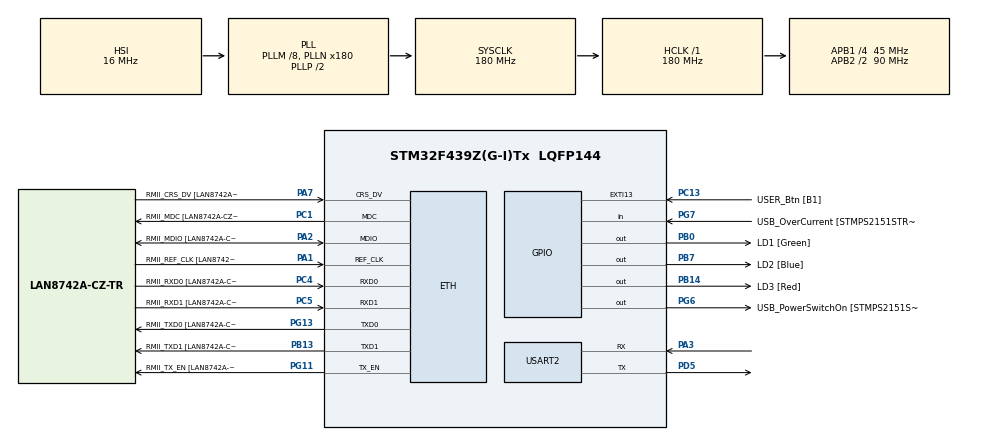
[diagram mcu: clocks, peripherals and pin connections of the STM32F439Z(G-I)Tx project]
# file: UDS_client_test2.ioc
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ETH.MACAddr=00\:80\:E1\:00\:00\:10
ETH.MediaInterface=ETH_MEDIA_INTERFACE_RMII
ETH.PhyAddress=0
ETH.RxMode=ETH_RXINTERRUPT_MODE
FREERTOS.Tasks01=UdsTask,24,128,StartUdsTask,Default,NULL,Dynamic,NULL,NULL;UartTask,25,128,StartUartTask,Default,NULL,Dynamic,NULL,NULL;InstallTask,25,128,StartInstallTask,Default,NULL,Dynamic,NULL,NULL
FREERTOS.configUSE_NEWLIB_REENTRANT=1
HASH.KeySize=17
HASH.SecureHashAlgorithmType=HMAC SHA256
HASH.pKey=00 01 02 03 04 05 06 07 08 09 0A 0B 0C 0D 0E 0F 10
HASH.pKeyInput=000102030405060708090A0B0C0D0E0F10
LWIP.GATEWAY_ADDRESS=169.254.084.058
LWIP.IP_ADDRESS=169.254.084.058
LWIP.LWIP_DHCP=0
LWIP.MEMP_NUM_TCP_SEG=100
LWIP.MEM_SIZE=21*1024
LWIP.NETMASK_ADDRESS=255.255.000.000
LWIP.PBUF_POOL_BUFSIZE=1500
LWIP.PBUF_POOL_SIZE=20
LWIP.TCP_MSS=1426
LWIP.TCP_SND_BUF=11408
LWIP.TCP_SND_QUEUELEN=100
LWIP.TCP_WND=11408
LWIP.Version=v2.1.2_Cube
Mcu.Family=STM32F4
Mcu.Name=STM32F439Z(G-I)Tx
Mcu.Package=LQFP144
NVIC.ETH_IRQn=true\:5\:0\:false\:false\:true\:true\:false\:true
NVIC.PriorityGroup=NVIC_PRIORITYGROUP_4
NVIC.TIM1_UP_TIM10_IRQn=true\:15\:0\:false\:false\:true\:false\:false\:true
NVIC.TimeBase=TIM1_UP_TIM10_IRQn
NVIC.TimeBaseIP=TIM1
NVIC.USART2_IRQn=true\:5\:0\:false\:false\:true\:true\:true\:true
PA1.GPIO_Label=RMII_REF_CLK [LAN8742A-CZ-TR_REFCLK0]
PA1.Mode=RMII
PA1.Signal=ETH_REF_CLK
PA10.GPIO_Label=USB_ID
PA10.Signal=USB_OTG_FS_ID
PA11.GPIO_Label=USB_DM
PA11.Signal=USB_OTG_FS_DM
PA12.GPIO_Label=USB_DP
PA12.Signal=USB_OTG_FS_DP
PA13.GPIO_Label=TMS
PA13.Signal=SYS_JTMS-SWDIO
PA14.GPIO_Label=TCK
PA14.Signal=SYS_JTCK-SWCLK
PA2.GPIO_Label=RMII_MDIO [LAN8742A-CZ-TR_MDIO]
PA2.Mode=RMII
PA2.Signal=ETH_MDIO
PA3.Mode=Asynchronous
PA3.Signal=USART2_RX
PA7.GPIO_Label=RMII_CRS_DV [LAN8742A-CZ-TR_CRS_DV]
PA7.Mode=RMII
PA7.Signal=ETH_CRS_DV
PA8.GPIO_Label=USB_SOF [TP1]
PA8.Signal=USB_OTG_FS_SOF
PA9.GPIO_Label=USB_VBUS
PA9.Signal=USB_OTG_FS_VBUS
PB0.GPIO_Label=LD1 [Green]
PB0.Signal=GPIO_Output
PB13.GPIO_Label=RMII_TXD1 [LAN8742A-CZ-TR_TXD1]
PB13.Mode=RMII
PB13.Signal=ETH_TXD1
PB14.GPIO_Label=LD3 [Red]
PB14.Signal=GPIO_Output
PB7.GPIO_Label=LD2 [Blue]
PB7.Signal=GPIO_Output
PC1.GPIO_Label=RMII_MDC [LAN8742A-CZ-TR_MDC]
PC1.Mode=RMII
PC1.Signal=ETH_MDC
PC13.GPIO_Label=USER_Btn [B1]
PC13.Signal=GPXTI13
PC14/OSC32_IN.Signal=RCC_OSC32_IN
PC15/OSC32_OUT.Signal=RCC_OSC32_OUT
PC4.GPIO_Label=RMII_RXD0 [LAN8742A-CZ-TR_RXD0]
PC4.Mode=RMII
PC4.Signal=ETH_RXD0
PC5.GPIO_Label=RMII_RXD1 [LAN8742A-CZ-TR_RXD1]
PC5.Mode=RMII
PC5.Signal=ETH_RXD1
PD5.Mode=Asynchronous
PD5.Signal=USART2_TX
PD8.GPIO_Label=STLK_RX [STM32F103CBT6_PA3]
PD8.Signal=USART3_TX
PD9.GPIO_Label=STLK_TX [STM32F103CBT6_PA2]
PD9.Signal=USART3_RX
PG11.GPIO_Label=RMII_TX_EN [LAN8742A-CZ-TR_TXEN]
PG11.Mode=RMII
PG11.Signal=ETH_TX_EN
PG13.GPIO_Label=RMII_TXD0 [LAN8742A-CZ-TR_TXD0]
PG13.Mode=RMII
PG13.Signal=ETH_TXD0
PG6.GPIO_Label=USB_PowerSwitchOn [STMPS2151STR_EN]
PG6.Signal=GPIO_Output
PG7.GPIO_Label=USB_OverCurrent [STMPS2151STR_FAULT]
PG7.Signal=GPIO_Input
PH0/OSC_IN.GPIO_Label=MCO [STM32F103CBT6_PA8]
PH0/OSC_IN.Mode=HSE-External-Oscillator
PH0/OSC_IN.Signal=RCC_OSC_IN
PH1/OSC_OUT.Mode=HSE-External-Oscillator
PH1/OSC_OUT.Signal=RCC_OSC_OUT
ProjectManager.HeapSize=0x200
ProjectManager.StackSize=0x400
ProjectManager.TargetToolchain=STM32CubeIDE
RCC.48MHZClocksFreq_Value=90000000
RCC.AHBFreq_Value=180000000
RCC.APB1CLKDivider=RCC_HCLK_DIV4
RCC.APB1Freq_Value=45000000
RCC.APB1TimFreq_Value=90000000
RCC.APB2CLKDivider=RCC_HCLK_DIV2
RCC.APB2Freq_Value=90000000
RCC.APB2TimFreq_Value=180000000
RCC.CortexFreq_Value=180000000
RCC.HCLKFreq_Value=180000000
RCC.HSE_VALUE=8000000
RCC.HSI_VALUE=16000000
RCC.LSE_VALUE=32768
RCC.PLLM=8
RCC.PLLMUL=RCC_PLL_MUL9
RCC.PLLN=180
RCC.PRESCALERUSB=RCC_USBCLKSOURCE_PLL_DIV1_5
RCC.SYSCLKFreq_VALUE=180000000
RCC.SYSCLKSource=RCC_SYSCLKSOURCE_PLLCLK
RCC.SYSCLKSourceVirtual=RCC_SYSCLKSOURCE_PLLCLK
RCC.USBFreq_Value=48000000
RCC.VCOOutputFreq_Value=360000000
USART2.VirtualMode=VM_ASYNC
VP_FREERTOS_VS_CMSIS_V2.Mode=CMSIS_V2
VP_HASH_VS_HASH.Mode=HASH_Activate
VP_LWIP_VS_Enabled.Mode=Enabled
VP_SYS_VS_tim1.Mode=TIM1
board=NUCLEO-F439ZI

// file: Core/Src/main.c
/* USER CODE BEGIN Header */
/**
  ******************************************************************************
  * @file           : main.c
  * @brief          : Main program body
  ******************************************************************************
  * @attention
  *
  * <h2><center>&copy; Copyright (c) 2023 STMicroelectronics.
  * All rights reserved.</center></h2>
  *
  * This software component is licensed by ST under BSD 3-Clause license,
  * the "License"; You may not use this file except in compliance with the
  * License. You may obtain a copy of the License at:
  *                        opensource.org/licenses/BSD-3-Clause
  *
  ******************************************************************************
  */
/* USER CODE END Header */
#include "main.h"
#include "cmsis_os.h"
#include "hash.h"
#include "lwip.h"
#include "usart.h"
#include "gpio.h"

void SystemClock_Config(void);
void MX_FREERTOS_Init(void);

/* USER CODE BEGIN 0 */
/*void HAL_UART_RxCpltCallback(UART_HandleTypeDef *huart){
	sys_sem_signal(&uartSem);
}*/
/* USER CODE END 0 */

int main(void)
{
  /* USER CODE BEGIN 1 */
	__enable_irq();
  /* USER CODE END 1 */

  /* MCU Configuration--------------------------------------------------------*/

  /* Reset of all peripherals, Initializes the Flash interface and the Systick. */
  HAL_Init();

  /* Configure the system clock */
  SystemClock_Config();

  /* Initialize all configured peripherals */
  MX_GPIO_Init();
  MX_HASH_Init();
  MX_USART2_UART_Init();
  /* USER CODE BEGIN 2 */
  /* init code for LWIP */
  MX_LWIP_Init();
  /* USER CODE END 2 */

  /* Init scheduler */
  osKernelInitialize();  /* Call init function for freertos objects (in freertos.c) */
  MX_FREERTOS_Init();
  /* Start scheduler */
  osKernelStart();

  /* We should never get here as control is now taken by the scheduler */
  /* Infinite loop */
  while (1)
  {

  }
}

void SystemClock_Config(void)
{
  RCC_OscInitTypeDef RCC_OscInitStruct = {0};
  RCC_ClkInitTypeDef RCC_ClkInitStruct = {0};

  /** Configure the main internal regulator output voltage
  */
  __HAL_RCC_PWR_CLK_ENABLE();
  __HAL_PWR_VOLTAGESCALING_CONFIG(PWR_REGULATOR_VOLTAGE_SCALE1);
  /** Initializes the RCC Oscillators according to the specified parameters
  * in the RCC_OscInitTypeDef structure.
  */
  RCC_OscInitStruct.OscillatorType = RCC_OSCILLATORTYPE_HSI;
  RCC_OscInitStruct.HSIState = RCC_HSI_ON;
  RCC_OscInitStruct.HSICalibrationValue = RCC_HSICALIBRATION_DEFAULT;
  RCC_OscInitStruct.PLL.PLLState = RCC_PLL_ON;
  RCC_OscInitStruct.PLL.PLLSource = RCC_PLLSOURCE_HSI;
  RCC_OscInitStruct.PLL.PLLM = 8;
  RCC_OscInitStruct.PLL.PLLN = 180;
  RCC_OscInitStruct.PLL.PLLP = RCC_PLLP_DIV2;
  RCC_OscInitStruct.PLL.PLLQ = 4;
  if (HAL_RCC_OscConfig(&RCC_OscInitStruct) != HAL_OK)
  {
    Error_Handler();
  }
  /** Activate the Over-Drive mode
  */
  if (HAL_PWREx_EnableOverDrive() != HAL_OK)
  {
    Error_Handler();
  }
  /** Initializes the CPU, AHB and APB buses clocks
  */
  RCC_ClkInitStruct.ClockType = RCC_CLOCKTYPE_HCLK|RCC_CLOCKTYPE_SYSCLK
                              |RCC_CLOCKTYPE_PCLK1|RCC_CLOCKTYPE_PCLK2;
  RCC_ClkInitStruct.SYSCLKSource = RCC_SYSCLKSOURCE_PLLCLK;
  RCC_ClkInitStruct.AHBCLKDivider = RCC_SYSCLK_DIV1;
  RCC_ClkInitStruct.APB1CLKDivider = RCC_HCLK_DIV4;
  RCC_ClkInitStruct.APB2CLKDivider = RCC_HCLK_DIV2;

  if (HAL_RCC_ClockConfig(&RCC_ClkInitStruct, FLASH_LATENCY_5) != HAL_OK)
  {
    Error_Handler();
  }
}

void HAL_TIM_PeriodElapsedCallback(TIM_HandleTypeDef *htim)
{
  if (htim->Instance == TIM1) {
    HAL_IncTick();
  }
}

void Error_Handler(void)
{
}

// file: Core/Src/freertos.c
/* USER CODE BEGIN Header */
/**
 ******************************************************************************
 * File Name          : freertos.c
 * Description        : Code for freertos applications
 ******************************************************************************
 * @attention
 *
 * Copyright (c) 2023 STMicroelectronics.
 * All rights reserved.
 *
 * This software is licensed under terms that can be found in the LICENSE file
 * in the root directory of this software component.
 * If no LICENSE file comes with this software, it is provided AS-IS.
 *
 ******************************************************************************
 */
/* USER CODE END Header */

#include "FreeRTOS.h"
#include "task.h"
#include "main.h"
#include "cmsis_os.h"

/* USER CODE BEGIN Includes */
#include "NodeMCU_COM.h"
#include "usart.h"
#include "uds_client.h"
#include "bootloader.h"
/* USER CODE END Includes */

/* USER CODE BEGIN Variables */
uint8_t installationReadyFlag = 0;
//uint8_t uartTerminated = 0;
/* USER CODE END Variables */
/* Definitions for UdsTask */
osThreadId_t UdsTaskHandle;
const osThreadAttr_t UdsTask_attributes = {
  .name = "UdsTask",
  .stack_size = 128 * 4,
  .priority = (osPriority_t) osPriorityNormal,
};
/* Definitions for UartTask */
osThreadId_t UartTaskHandle;
const osThreadAttr_t UartTask_attributes = {
  .name = "UartTask",
  .stack_size = 128 * 4,
  .priority = (osPriority_t) osPriorityNormal1,
};
/* Definitions for InstallTask */
osThreadId_t InstallTaskHandle;
const osThreadAttr_t InstallTask_attributes = {
  .name = "InstallTask",
  .stack_size = 128 * 4,
  .priority = (osPriority_t) osPriorityNormal1,
};

void StartUdsTask(void *argument);
void StartUartTask(void *argument);
void StartInstallTask(void *argument);

extern void MX_LWIP_Init(void);
void MX_FREERTOS_Init(void); /* (MISRA C 2004 rule 8.1) */

void MX_FREERTOS_Init(void) {

  /* Create the thread(s) */
  /* creation of UdsTask */
  UdsTaskHandle = osThreadNew(StartUdsTask, NULL, &UdsTask_attributes);

  /* creation of UartTask */
  UartTaskHandle = osThreadNew(StartUartTask, NULL, &UartTask_attributes);

  /* creation of InstallTask */
  InstallTaskHandle = osThreadNew(StartInstallTask, NULL, &InstallTask_attributes);

}

void StartUdsTask(void *argument)
{
  /* USER CODE BEGIN StartUdsTask */
/*----------------------------------------------------------------*/
  HAL_GPIO_WritePin(LD2_GPIO_Port, LD2_Pin, GPIO_PIN_SET);
  HAL_Delay(500);
  HAL_GPIO_WritePin(LD2_GPIO_Port, LD2_Pin, GPIO_PIN_RESET);
/*----------------------------------------------------------------*/
  UDS_init(target_update);
//  osThreadSetPriority(UdsTaskHandle, osPriorityNormal);
  osThreadTerminate(UdsTaskHandle);
  // Terminate task !!!!!

  /* Infinite loop */
  for(;;)
  {
    osDelay(1);
  }
  /* USER CODE END StartUdsTask */
}

void StartUartTask(void *argument)
{
  /* USER CODE BEGIN StartUartTask */
	get_version_number(current_version_number);
	uint8_t versionNumberFrame[4] = {VERSION_NUMBER, current_version_number[0], current_version_number[1], current_version_number[2]};
	HAL_UART_Transmit(&huart2, (uint8_t *)versionNumberFrame, sizeof(versionNumberFrame), HAL_MAX_DELAY);
	while(HAL_UART_Receive(&huart2, (uint8_t *)data_received, 6, HAL_MAX_DELAY) != HAL_OK);

	/* Infinite loop */
	for(;;)
	{
		if(!downloadFinishedFlag){
			UART_stateHandler();
		}
		else{
			// Do Nothing
		}
		osDelay(1);
	}
  /* USER CODE END StartUartTask */
}

void StartInstallTask(void *argument)
{
  /* USER CODE BEGIN StartInstallTask */
  /* Infinite loop */
  for(;;)
  {
	  HAL_GPIO_TogglePin(LD3_GPIO_Port, LD3_Pin);
	  HAL_Delay(500);

	if (downloadFinishedFlag && HAL_GPIO_ReadPin(USER_Btn_GPIO_Port, USER_Btn_Pin) == GPIO_PIN_SET) {
		installationReadyFlag = 1;
		//ask user to install

//		uartTerminated = 1;
		osThreadTerminate(UartTaskHandle);

		downloadFinishedFlag = 0; // must be handled in case of installation failure

		HAL_GPIO_WritePin(LD1_GPIO_Port, LD1_Pin, GPIO_PIN_SET);
		if (target_update[1]) {
			osThreadResume(target1ThreadID);
		}
		osThreadSuspend(InstallTaskHandle);
	}
	if (target_update[0] && target1InstalledFlag && target1_version_received) { // target_update[0] && (target_update[1] ^ (target1InstalledFlag && target1_version_received))
		// reboot
		target1_version_received = 0;////////
		target1InstalledFlag = 0;///////////
		HAL_GPIO_WritePin(LD1_GPIO_Port, LD1_Pin, GPIO_PIN_SET);
		bootloader_switch_to_inactive_bank();
		bootloader_reboot();
	} else if (!target_update[0] && target1InstalledFlag && osThreadGetState(UartTaskHandle) == osThreadTerminated) {
		current_version_number[0] = new_version_number[0];
		current_version_number[1] = new_version_number[1];
		current_version_number[2] = new_version_number[2];
		osThreadTerminate(target1ThreadID);

		UdsTaskHandle = osThreadNew(StartUdsTask, NULL, &UdsTask_attributes);
		UartTaskHandle = osThreadNew(StartUartTask, NULL, &UartTask_attributes);
		target1_version_received = 0; /////////
		target1InstalledFlag = 0;
	}
    osDelay(1);
  }
  /* USER CODE END StartInstallTask */
}
